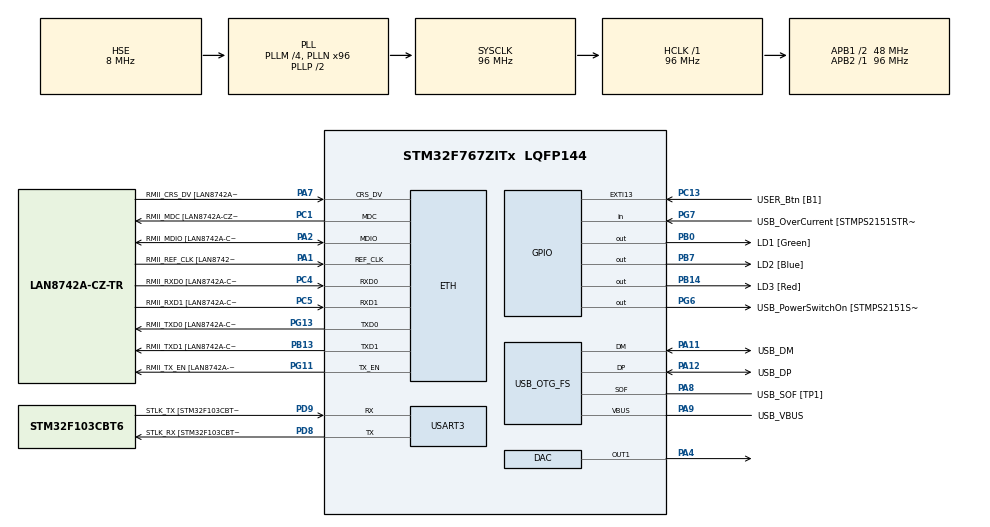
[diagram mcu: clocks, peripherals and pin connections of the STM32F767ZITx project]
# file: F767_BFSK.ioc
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CORTEX_M7.default_mode_Activation=1
DAC.DAC_Trigger=DAC_TRIGGER_T6_TRGO
Dma.DAC1.0.Direction=DMA_MEMORY_TO_PERIPH
Dma.DAC1.0.FIFOMode=DMA_FIFOMODE_DISABLE
Dma.DAC1.0.Instance=DMA1_Stream5
Dma.DAC1.0.MemDataAlignment=DMA_MDATAALIGN_HALFWORD
Dma.DAC1.0.MemInc=DMA_MINC_ENABLE
Dma.DAC1.0.Mode=DMA_CIRCULAR
Dma.DAC1.0.PeriphDataAlignment=DMA_PDATAALIGN_HALFWORD
Dma.DAC1.0.PeriphInc=DMA_PINC_DISABLE
Dma.DAC1.0.Priority=DMA_PRIORITY_LOW
Dma.Request0=DAC1
ETH.MediaInterface=HAL_ETH_RMII_MODE
ETH.PHY_Name=LAN8742A_PHY_ADDRESS
ETH.PHY_Value=0
ETH.PhyAddress=0
Mcu.Family=STM32F7
Mcu.Name=STM32F767ZITx
Mcu.Package=LQFP144
NVIC.DMA1_Stream5_IRQn=true\:0\:0\:false\:false\:true\:false\:true\:true
NVIC.PriorityGroup=NVIC_PRIORITYGROUP_4
PA1.GPIO_Label=RMII_REF_CLK [LAN8742A-CZ-TR_REFCLK0]
PA1.Mode=RMII
PA1.Signal=ETH_REF_CLK
PA10.GPIO_Label=USB_ID
PA10.Signal=USB_OTG_FS_ID
PA11.GPIO_Label=USB_DM
PA11.Mode=Device_Only
PA11.Signal=USB_OTG_FS_DM
PA12.GPIO_Label=USB_DP
PA12.Mode=Device_Only
PA12.Signal=USB_OTG_FS_DP
PA13.GPIO_Label=TMS
PA13.Mode=Serial_Wire
PA13.Signal=SYS_JTMS-SWDIO
PA14.GPIO_Label=TCK
PA14.Mode=Serial_Wire
PA14.Signal=SYS_JTCK-SWCLK
PA2.GPIO_Label=RMII_MDIO [LAN8742A-CZ-TR_MDIO]
PA2.Mode=RMII
PA2.Signal=ETH_MDIO
PA4.Signal=COMP_DAC1_group
PA7.GPIO_Label=RMII_CRS_DV [LAN8742A-CZ-TR_CRS_DV]
PA7.Mode=RMII
PA7.Signal=ETH_CRS_DV
PA8.GPIO_Label=USB_SOF [TP1]
PA8.Mode=Activate_SOF_FS
PA8.Signal=USB_OTG_FS_SOF
PA9.GPIO_Label=USB_VBUS
PA9.Mode=Activate_VBUS
PA9.Signal=USB_OTG_FS_VBUS
PB0.GPIO_Label=LD1 [Green]
PB0.Signal=GPIO_Output
PB13.GPIO_Label=RMII_TXD1 [LAN8742A-CZ-TR_TXD1]
PB13.Mode=RMII
PB13.Signal=ETH_TXD1
PB14.GPIO_Label=LD3 [Red]
PB14.Signal=GPIO_Output
PB3.GPIO_Label=SWO
PB3.Signal=SYS_JTDO-SWO
PB7.GPIO_Label=LD2 [Blue]
PB7.Signal=GPIO_Output
PC1.GPIO_Label=RMII_MDC [LAN8742A-CZ-TR_MDC]
PC1.Mode=RMII
PC1.Signal=ETH_MDC
PC13.GPIO_Label=USER_Btn [B1]
PC13.Signal=GPXTI13
PC14/OSC32_IN.Mode=LSE-External-Oscillator
PC14/OSC32_IN.Signal=RCC_OSC32_IN
PC15/OSC32_OUT.Mode=LSE-External-Oscillator
PC15/OSC32_OUT.Signal=RCC_OSC32_OUT
PC4.GPIO_Label=RMII_RXD0 [LAN8742A-CZ-TR_RXD0]
PC4.Mode=RMII
PC4.Signal=ETH_RXD0
PC5.GPIO_Label=RMII_RXD1 [LAN8742A-CZ-TR_RXD1]
PC5.Mode=RMII
PC5.Signal=ETH_RXD1
PD8.GPIO_Label=STLK_RX [STM32F103CBT6_PA3]
PD8.Mode=Asynchronous
PD8.Signal=USART3_TX
PD9.GPIO_Label=STLK_TX [STM32F103CBT6_PA2]
PD9.Mode=Asynchronous
PD9.Signal=USART3_RX
PG11.GPIO_Label=RMII_TX_EN [LAN8742A-CZ-TR_TXEN]
PG11.Mode=RMII
PG11.Signal=ETH_TX_EN
PG13.GPIO_Label=RMII_TXD0 [LAN8742A-CZ-TR_TXD0]
PG13.Mode=RMII
PG13.Signal=ETH_TXD0
PG6.GPIO_Label=USB_PowerSwitchOn [STMPS2151STR_EN]
PG6.Signal=GPIO_Output
PG7.GPIO_Label=USB_OverCurrent [STMPS2151STR_FAULT]
PG7.Signal=GPIO_Input
PH0/OSC_IN.GPIO_Label=MCO [STM32F103CBT6_PA8]
PH0/OSC_IN.Mode=HSE-External-Clock-Source
PH0/OSC_IN.Signal=RCC_OSC_IN
PH1/OSC_OUT.Mode=HSE-External-Clock-Source
PH1/OSC_OUT.Signal=RCC_OSC_OUT
ProjectManager.HeapSize=0x200
ProjectManager.StackSize=0x400
ProjectManager.TargetToolchain=STM32CubeIDE
RCC.48MHZClocksFreq_Value=24000000
RCC.AHBFreq_Value=96000000
RCC.APB1CLKDivider=RCC_HCLK_DIV2
RCC.APB1Freq_Value=48000000
RCC.APB1TimFreq_Value=96000000
RCC.APB2Freq_Value=96000000
RCC.APB2TimFreq_Value=96000000
RCC.CortexFreq_Value=96000000
RCC.HCLKFreq_Value=96000000
RCC.HSE_VALUE=8000000
RCC.HSI_VALUE=16000000
RCC.PLLM=4
RCC.PLLMUL=RCC_PLL_MUL9
RCC.PLLN=96
RCC.PLLQ=4
RCC.PRESCALERUSB=RCC_USBCLKSOURCE_PLL_DIV1_5
RCC.SYSCLKFreq_VALUE=96000000
RCC.SYSCLKSource=RCC_SYSCLKSOURCE_PLLCLK
RCC.SYSCLKSourceVirtual=RCC_SYSCLKSOURCE_PLLCLK
RCC.USBFreq_Value=48000000
RCC.VCOOutputFreq_Value=192000000
SH.COMP_DAC1_group.0=DAC_OUT1,DAC_OUT1
TIM6.TIM_MasterOutputTrigger=TIM_TRGO_UPDATE
USART3.VirtualMode-Asynchronous=VM_ASYNC
USB_OTG_FS.VirtualMode=Device_Only
VP_TIM6_VS_ClockSourceINT.Mode=Enable_Timer
board=NUCLEO-F767ZI

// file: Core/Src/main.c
/* USER CODE BEGIN Header */
/* F767_BFSK*/
/**
  ******************************************************************************
  * @file           : main.c
  * @brief          : Main program body
  ******************************************************************************
  * @attention
  *
  * Copyright (c) 2026 STMicroelectronics.
  * All rights reserved.
  *
  * This software is licensed under terms that can be found in the LICENSE file
  * in the root directory of this software component.
  * If no LICENSE file comes with this software, it is provided AS-IS.
  *
  ******************************************************************************
  */
/* USER CODE END Header */
#include "main.h"
#include "string.h"

/* USER CODE BEGIN Includes */
#include <string.h>
#include <stdint.h>
/* USER CODE END Includes */

/* USER CODE BEGIN PD */
#define LUT_SIZE        64U
#define MAX_ASCII_LEN   64U
#define MAX_BITS        (MAX_ASCII_LEN * 8U)

#define BIT_MS          10U
#define GAP_MS          500U
#define DAC_ZERO_12B    0U
/* USER CODE END PD */

#if defined ( __ICCARM__ ) /*!< IAR Compiler */
#pragma location=0x2007c000
ETH_DMADescTypeDef  DMARxDscrTab[ETH_RX_DESC_CNT]; /* Ethernet Rx DMA Descriptors */
#pragma location=0x2007c0a0
ETH_DMADescTypeDef  DMATxDscrTab[ETH_TX_DESC_CNT]; /* Ethernet Tx DMA Descriptors */

#elif defined ( __CC_ARM )  /* MDK ARM Compiler */

__attribute__((at(0x2007c000))) ETH_DMADescTypeDef  DMARxDscrTab[ETH_RX_DESC_CNT]; /* Ethernet Rx DMA Descriptors */
__attribute__((at(0x2007c0a0))) ETH_DMADescTypeDef  DMATxDscrTab[ETH_TX_DESC_CNT]; /* Ethernet Tx DMA Descriptors */

#elif defined ( __GNUC__ ) /* GNU Compiler */

ETH_DMADescTypeDef DMARxDscrTab[ETH_RX_DESC_CNT] __attribute__((section(".RxDecripSection"))); /* Ethernet Rx DMA Descriptors */
ETH_DMADescTypeDef DMATxDscrTab[ETH_TX_DESC_CNT] __attribute__((section(".TxDecripSection")));   /* Ethernet Tx DMA Descriptors */
#endif

ETH_TxPacketConfig TxConfig;

DAC_HandleTypeDef hdac;
DMA_HandleTypeDef hdma_dac1;

ETH_HandleTypeDef heth;

TIM_HandleTypeDef htim6;

UART_HandleTypeDef huart3;

PCD_HandleTypeDef hpcd_USB_OTG_FS;

/* USER CODE BEGIN PV */
typedef enum {PAIR_30_31 = 0, PAIR_45_46 = 1} FreqPair_t;
static volatile FreqPair_t g_pair = PAIR_45_46;             // <--- Change to PAIR_30_31

static volatile uint32_t g_f0_hz = 45000U;                  // bit 0 -> low frequency
static volatile uint32_t g_f1_hz = 46000U;                  // bit 1 -> high frequency

static const char userText[MAX_ASCII_LEN + 1] = "120.1174,22.2245,11.4,42.5,7.22";

// ASCII to binary
static char bitString[MAX_BITS + 1];
static uint32_t bitLen = 0;

// Timer clock for TIM6
static uint32_t tim6_clk_hz = 0;

// LUT
static const uint16_t sineLUT[LUT_SIZE] = {
  2048,2249,2447,2642,2831,3013,3185,3346,
  3495,3630,3750,3853,3939,4007,4056,4085,
  4095,4085,4056,4007,3939,3853,3750,3630,
  3495,3346,3185,3013,2831,2642,2447,2249,
  2048,1846,1648,1453,1264,1082, 910, 749,
   600, 465, 345, 242, 156,  88,  39,  10,
     0,  10,  39,  88, 156, 242, 345, 465,
   600, 749, 910,1082,1264,1453,1648,1846
};

// output state
typedef enum {ST_DATA = 0, ST_GAP} TxState_t;
static volatile TxState_t g_state = ST_DATA;

static uint32_t g_t0_ms = 0;
static uint32_t g_bit_idx = 0;

static uint8_t dma_running = 0;
/* USER CODE END PV */

void SystemClock_Config(void);
static void MPU_Config(void);
static void MX_GPIO_Init(void);
static void MX_DMA_Init(void);
static void MX_DAC_Init(void);
static void MX_ETH_Init(void);
static void MX_USART3_UART_Init(void);
static void MX_USB_OTG_FS_PCD_Init(void);
static void MX_TIM6_Init(void);

/* USER CODE BEGIN 0 */
static void set_pair(FreqPair_t pair)
{
  g_pair = pair;
  if (pair == PAIR_30_31) {g_f0_hz = 30000U; g_f1_hz = 31000;}
  else                    {g_f0_hz = 45000U; g_f1_hz = 46000;}
} // end function set_pair

static void ascii_to_bits(const char *s, char *out, uint32_t outMax, uint32_t *outLen)
{
  uint32_t  n = 0;
  while (*s && (n + 8U) < outMax)
  {
    uint8_t c = (uint8_t)(*s++);
    for (int b = 7; b >= 0; b--)
    {
      out[n++] = ((c >> b) & 1U) ? '1' : '0';
    } // end for
  } // end while
  out[n] = '\0';
  *outLen = n;
} // end function ascii_to_bits

static uint32_t get_tim6_clock_hz(void)
{
  uint32_t pclk1 = HAL_RCC_GetPCLK1Freq();
  uint32_t ppre1 = (RCC->CFGR >> RCC_CFGR_PPRE1_Pos) & 0x7U;
  if (ppre1 >= 4U) return pclk1 * 2U;
  else              return pclk1;
} // end function get_tim6_clock_hz

static void set_output_freq_hz(uint32_t f_out_hz)
{
  uint32_t target_update = f_out_hz * LUT_SIZE;         // DAC update rate
  if (target_update == 0U || tim6_clk_hz == 0U) return;

  uint32_t div = tim6_clk_hz / target_update;
  if (div == 0U) div = 1U;

  uint32_t arr = div - 1U;
  if (arr > 0xFFFFU) arr = 0xFFFFU;

  __HAL_TIM_SET_AUTORELOAD(&htim6, (uint16_t)arr);
  __HAL_TIM_SET_COUNTER(&htim6 , 0U);
} // end function set_output_freq_hz

static void start_output(void)
{
  if (!dma_running)
  {
    HAL_DAC_Start(&hdac , DAC1_CHANNEL_1);
    HAL_DAC_Start_DMA(&hdac , DAC1_CHANNEL_1 , (uint32_t*)sineLUT , LUT_SIZE , DAC_ALIGN_12B_R);
    dma_running = 1;
  } // end if
  HAL_TIM_Base_Start(&htim6);
} // end function start_output

// during gap -> force 0V
static void stop_and_silence(void)
{
  HAL_TIM_Base_Stop(&htim6);

  if (dma_running)
  {
    HAL_DAC_Stop_DMA(&hdac , DAC1_CHANNEL_1);
    dma_running = 0;
  } // end if

  HAL_DAC_Start(&hdac , DAC1_CHANNEL_1);
  HAL_DAC_SetValue(&hdac , DAC1_CHANNEL_1 , DAC_ALIGN_12B_R , DAC_ZERO_12B);
} // end function stop_and_silence
/* USER CODE END 0 */

int main(void)
{

  /* MPU Configuration--------------------------------------------------------*/
  MPU_Config();

  /* MCU Configuration--------------------------------------------------------*/

  /* Reset of all peripherals, Initializes the Flash interface and the Systick. */
  HAL_Init();

  /* Configure the system clock */
  SystemClock_Config();

  /* Initialize all configured peripherals */
  MX_GPIO_Init();
  MX_DMA_Init();
  MX_DAC_Init();
  MX_ETH_Init();
  MX_USART3_UART_Init();
  MX_USB_OTG_FS_PCD_Init();
  MX_TIM6_Init();
  /* USER CODE BEGIN 2 */
  set_pair(PAIR_30_31);           // <--- change here to choose pair

  ascii_to_bits(userText , bitString , sizeof(bitString) , &bitLen);

  tim6_clk_hz = get_tim6_clock_hz();

  // start at first bit
  g_state = ST_DATA;
  g_t0_ms = HAL_GetTick();
  g_bit_idx = 0;

  if (bitLen > 0)
  {
    // set frequency for bit 0 and start output
    if (bitString[0] == '0') set_output_freq_hz(g_f0_hz);
    else                      set_output_freq_hz(g_f1_hz);

    start_output();
  } // end if
  else
  {
    stop_and_silence();
    g_state = ST_GAP;
  } // end else
  /* USER CODE END 2 */

  /* Infinite loop */
  /* USER CODE BEGIN WHILE */
  while (1)
  {
    uint32_t now = HAL_GetTick();

    if (g_state == ST_DATA)
    {
      if ((now - g_t0_ms) >= BIT_MS)
      {
        g_t0_ms = now;
        g_bit_idx++;

        if (g_bit_idx >= bitLen)
        {
          // Done one frame -> GAP
          stop_and_silence();
          g_state = ST_GAP;
          g_t0_ms = now;
        } // end if >= bitLen
        else
        {
          if (bitString[g_bit_idx] == '0') set_output_freq_hz(g_f0_hz);
          else                              set_output_freq_hz(g_f1_hz);
        } // end else
      } // end if >= BIT_MS
    } // end if data
    else
    {
      if ((now - g_t0_ms) >= GAP_MS)
      {
        // reset frame
        g_bit_idx = 0;
        g_state = ST_DATA;
        g_t0_ms = now;

        if (bitLen > 0)
        {
          if (bitString[0] == 0) set_output_freq_hz(g_f0_hz);
          else                    set_output_freq_hz(g_f1_hz);
          start_output();
        } // end if bitLen >0
      } // end if >= GAP_MS
    } // end else (state = GAP)
    /* USER CODE END WHILE */

    /* USER CODE BEGIN 3 */
  } // end while
  /* USER CODE END 3 */
}

void SystemClock_Config(void)
{
  RCC_OscInitTypeDef RCC_OscInitStruct = {0};
  RCC_ClkInitTypeDef RCC_ClkInitStruct = {0};

  /** Configure LSE Drive Capability
  */
  HAL_PWR_EnableBkUpAccess();

  /** Configure the main internal regulator output voltage
  */
  __HAL_RCC_PWR_CLK_ENABLE();
  __HAL_PWR_VOLTAGESCALING_CONFIG(PWR_REGULATOR_VOLTAGE_SCALE3);

  /** Initializes the RCC Oscillators according to the specified parameters
  * in the RCC_OscInitTypeDef structure.
  */
  RCC_OscInitStruct.OscillatorType = RCC_OSCILLATORTYPE_HSE;
  RCC_OscInitStruct.HSEState = RCC_HSE_BYPASS;
  RCC_OscInitStruct.PLL.PLLState = RCC_PLL_ON;
  RCC_OscInitStruct.PLL.PLLSource = RCC_PLLSOURCE_HSE;
  RCC_OscInitStruct.PLL.PLLM = 4;
  RCC_OscInitStruct.PLL.PLLN = 96;
  RCC_OscInitStruct.PLL.PLLP = RCC_PLLP_DIV2;
  RCC_OscInitStruct.PLL.PLLQ = 4;
  RCC_OscInitStruct.PLL.PLLR = 2;
  if (HAL_RCC_OscConfig(&RCC_OscInitStruct) != HAL_OK)
  {
    Error_Handler();
  }

  /** Activate the Over-Drive mode
  */
  if (HAL_PWREx_EnableOverDrive() != HAL_OK)
  {
    Error_Handler();
  }

  /** Initializes the CPU, AHB and APB buses clocks
  */
  RCC_ClkInitStruct.ClockType = RCC_CLOCKTYPE_HCLK|RCC_CLOCKTYPE_SYSCLK
                              |RCC_CLOCKTYPE_PCLK1|RCC_CLOCKTYPE_PCLK2;
  RCC_ClkInitStruct.SYSCLKSource = RCC_SYSCLKSOURCE_PLLCLK;
  RCC_ClkInitStruct.AHBCLKDivider = RCC_SYSCLK_DIV1;
  RCC_ClkInitStruct.APB1CLKDivider = RCC_HCLK_DIV2;
  RCC_ClkInitStruct.APB2CLKDivider = RCC_HCLK_DIV1;

  if (HAL_RCC_ClockConfig(&RCC_ClkInitStruct, FLASH_LATENCY_3) != HAL_OK)
  {
    Error_Handler();
  }
}

static void MX_DAC_Init(void)
{

  DAC_ChannelConfTypeDef sConfig = {0};

  /** DAC Initialization
  */
  hdac.Instance = DAC;
  if (HAL_DAC_Init(&hdac) != HAL_OK)
  {
    Error_Handler();
  }

  /** DAC channel OUT1 config
  */
  sConfig.DAC_Trigger = DAC_TRIGGER_T6_TRGO;
  sConfig.DAC_OutputBuffer = DAC_OUTPUTBUFFER_ENABLE;
  if (HAL_DAC_ConfigChannel(&hdac, &sConfig, DAC_CHANNEL_1) != HAL_OK)
  {
    Error_Handler();
  }

}

static void MX_ETH_Init(void)
{

   static uint8_t MACAddr[6];

  heth.Instance = ETH;
  MACAddr[0] = 0x00;
  MACAddr[1] = 0x80;
  MACAddr[2] = 0xE1;
  MACAddr[3] = 0x00;
  MACAddr[4] = 0x00;
  MACAddr[5] = 0x00;
  heth.Init.MACAddr = &MACAddr[0];
  heth.Init.MediaInterface = HAL_ETH_RMII_MODE;
  heth.Init.TxDesc = DMATxDscrTab;
  heth.Init.RxDesc = DMARxDscrTab;
  heth.Init.RxBuffLen = 1524;

  if (HAL_ETH_Init(&heth) != HAL_OK)
  {
    Error_Handler();
  }

  memset(&TxConfig, 0 , sizeof(ETH_TxPacketConfig));
  TxConfig.Attributes = ETH_TX_PACKETS_FEATURES_CSUM | ETH_TX_PACKETS_FEATURES_CRCPAD;
  TxConfig.ChecksumCtrl = ETH_CHECKSUM_IPHDR_PAYLOAD_INSERT_PHDR_CALC;
  TxConfig.CRCPadCtrl = ETH_CRC_PAD_INSERT;

}

static void MX_TIM6_Init(void)
{

  TIM_MasterConfigTypeDef sMasterConfig = {0};

  htim6.Instance = TIM6;
  htim6.Init.Prescaler = 0;
  htim6.Init.CounterMode = TIM_COUNTERMODE_UP;
  htim6.Init.Period = 65535;
  htim6.Init.AutoReloadPreload = TIM_AUTORELOAD_PRELOAD_DISABLE;
  if (HAL_TIM_Base_Init(&htim6) != HAL_OK)
  {
    Error_Handler();
  }
  sMasterConfig.MasterOutputTrigger = TIM_TRGO_UPDATE;
  sMasterConfig.MasterSlaveMode = TIM_MASTERSLAVEMODE_DISABLE;
  if (HAL_TIMEx_MasterConfigSynchronization(&htim6, &sMasterConfig) != HAL_OK)
  {
    Error_Handler();
  }

}

static void MX_USART3_UART_Init(void)
{

  huart3.Instance = USART3;
  huart3.Init.BaudRate = 115200;
  huart3.Init.WordLength = UART_WORDLENGTH_8B;
  huart3.Init.StopBits = UART_STOPBITS_1;
  huart3.Init.Parity = UART_PARITY_NONE;
  huart3.Init.Mode = UART_MODE_TX_RX;
  huart3.Init.HwFlowCtl = UART_HWCONTROL_NONE;
  huart3.Init.OverSampling = UART_OVERSAMPLING_16;
  huart3.Init.OneBitSampling = UART_ONE_BIT_SAMPLE_DISABLE;
  huart3.AdvancedInit.AdvFeatureInit = UART_ADVFEATURE_NO_INIT;
  if (HAL_UART_Init(&huart3) != HAL_OK)
  {
    Error_Handler();
  }

}

static void MX_USB_OTG_FS_PCD_Init(void)
{

  hpcd_USB_OTG_FS.Instance = USB_OTG_FS;
  hpcd_USB_OTG_FS.Init.dev_endpoints = 6;
  hpcd_USB_OTG_FS.Init.speed = PCD_SPEED_FULL;
  hpcd_USB_OTG_FS.Init.dma_enable = DISABLE;
  hpcd_USB_OTG_FS.Init.phy_itface = PCD_PHY_EMBEDDED;
  hpcd_USB_OTG_FS.Init.Sof_enable = ENABLE;
  hpcd_USB_OTG_FS.Init.low_power_enable = DISABLE;
  hpcd_USB_OTG_FS.Init.lpm_enable = DISABLE;
  hpcd_USB_OTG_FS.Init.vbus_sensing_enable = ENABLE;
  hpcd_USB_OTG_FS.Init.use_dedicated_ep1 = DISABLE;
  if (HAL_PCD_Init(&hpcd_USB_OTG_FS) != HAL_OK)
  {
    Error_Handler();
  }

}

static void MX_DMA_Init(void)
{

  /* DMA controller clock enable */
  __HAL_RCC_DMA1_CLK_ENABLE();

  /* DMA interrupt init */
  /* DMA1_Stream5_IRQn interrupt configuration */
  HAL_NVIC_SetPriority(DMA1_Stream5_IRQn, 0, 0);
  HAL_NVIC_EnableIRQ(DMA1_Stream5_IRQn);

}

static void MX_GPIO_Init(void)
{
  GPIO_InitTypeDef GPIO_InitStruct = {0};

  /* GPIO Ports Clock Enable */
  __HAL_RCC_GPIOC_CLK_ENABLE();
  __HAL_RCC_GPIOH_CLK_ENABLE();
  __HAL_RCC_GPIOA_CLK_ENABLE();
  __HAL_RCC_GPIOB_CLK_ENABLE();
  __HAL_RCC_GPIOD_CLK_ENABLE();
  __HAL_RCC_GPIOG_CLK_ENABLE();

  /*Configure GPIO pin Output Level */
  HAL_GPIO_WritePin(GPIOB, LD1_Pin|LD3_Pin|LD2_Pin, GPIO_PIN_RESET);

  /*Configure GPIO pin Output Level */
  HAL_GPIO_WritePin(USB_PowerSwitchOn_GPIO_Port, USB_PowerSwitchOn_Pin, GPIO_PIN_RESET);

  /*Configure GPIO pin : USER_Btn_Pin */
  GPIO_InitStruct.Pin = USER_Btn_Pin;
  GPIO_InitStruct.Mode = GPIO_MODE_IT_RISING;
  GPIO_InitStruct.Pull = GPIO_NOPULL;
  HAL_GPIO_Init(USER_Btn_GPIO_Port, &GPIO_InitStruct);

  /*Configure GPIO pins : LD1_Pin LD3_Pin LD2_Pin */
  GPIO_InitStruct.Pin = LD1_Pin|LD3_Pin|LD2_Pin;
  GPIO_InitStruct.Mode = GPIO_MODE_OUTPUT_PP;
  GPIO_InitStruct.Pull = GPIO_NOPULL;
  GPIO_InitStruct.Speed = GPIO_SPEED_FREQ_LOW;
  HAL_GPIO_Init(GPIOB, &GPIO_InitStruct);

  /*Configure GPIO pin : USB_PowerSwitchOn_Pin */
  GPIO_InitStruct.Pin = USB_PowerSwitchOn_Pin;
  GPIO_InitStruct.Mode = GPIO_MODE_OUTPUT_PP;
  GPIO_InitStruct.Pull = GPIO_NOPULL;
  GPIO_InitStruct.Speed = GPIO_SPEED_FREQ_LOW;
  HAL_GPIO_Init(USB_PowerSwitchOn_GPIO_Port, &GPIO_InitStruct);

  /*Configure GPIO pin : USB_OverCurrent_Pin */
  GPIO_InitStruct.Pin = USB_OverCurrent_Pin;
  GPIO_InitStruct.Mode = GPIO_MODE_INPUT;
  GPIO_InitStruct.Pull = GPIO_NOPULL;
  HAL_GPIO_Init(USB_OverCurrent_GPIO_Port, &GPIO_InitStruct);

}

 /* MPU Configuration */

void MPU_Config(void)
{
  MPU_Region_InitTypeDef MPU_InitStruct = {0};

  /* Disables the MPU */
  HAL_MPU_Disable();

  /** Initializes and configures the Region and the memory to be protected
  */
  MPU_InitStruct.Enable = MPU_REGION_ENABLE;
  MPU_InitStruct.Number = MPU_REGION_NUMBER0;
  MPU_InitStruct.BaseAddress = 0x0;
  MPU_InitStruct.Size = MPU_REGION_SIZE_4GB;
  MPU_InitStruct.SubRegionDisable = 0x87;
  MPU_InitStruct.TypeExtField = MPU_TEX_LEVEL0;
  MPU_InitStruct.AccessPermission = MPU_REGION_NO_ACCESS;
  MPU_InitStruct.DisableExec = MPU_INSTRUCTION_ACCESS_DISABLE;
  MPU_InitStruct.IsShareable = MPU_ACCESS_SHAREABLE;
  MPU_InitStruct.IsCacheable = MPU_ACCESS_NOT_CACHEABLE;
  MPU_InitStruct.IsBufferable = MPU_ACCESS_NOT_BUFFERABLE;

  HAL_MPU_ConfigRegion(&MPU_InitStruct);
  /* Enables the MPU */
  HAL_MPU_Enable(MPU_PRIVILEGED_DEFAULT);

}

void Error_Handler(void)
{
  __disable_irq();
  while (1)
  {
  }
}
